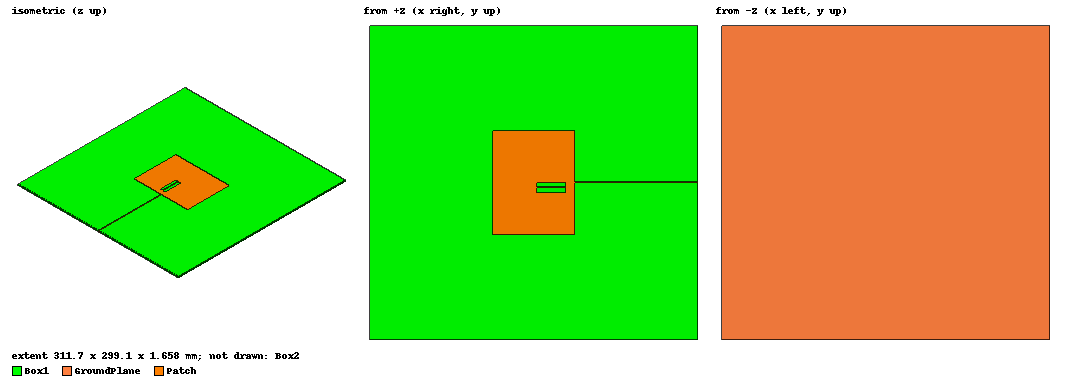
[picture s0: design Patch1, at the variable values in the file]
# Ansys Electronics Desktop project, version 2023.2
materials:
  vacuum: permittivity=1
  copper: permeability=0.999991 conductivity=58000000
  FR4_epoxy: permittivity=4.4 dielectric_loss_tangent=0.02
  air: permittivity=1.0006 permeability=1.0000004

design Patch1 (HFSS, HFSS Terminal Network, model units mm)
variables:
  Xpatch = 77.92mm
  Ypatch = 99.7mm
  htrace = 0.035mm
  hsub = 1.588mm
  widthCP = 1.4mm
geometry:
  GroundPlane [copper] = rectangle(corner=(0mm, 0mm, 0mm), x_size=Xpatch* 4, y_size=Ypatch *3)
  GroundPlane.thicken(0.035mm)
  Box1 [FR4_epoxy] = box(corner=(0mm, 0mm, htrace), size=(4*Xpatch, 3*Ypatch, hsub))
  Patch [copper] = rectangle(corner=(Xpatch*1.5, Ypatch, hsub+htrace), x_size=Xpatch, y_size=Ypatch)
  Patch.thicken(0.035mm)
  TransmissionLIne = rectangle(corner=(2.5*Xpatch, 1.5*Ypatch, hsub +htrace), x_size=1.5*Xpatch, y_size=widthCP)
  TransmissionLIne.thicken(0.035mm)
  Rectangle1 = rectangle(corner=(4*Xpatch, 1.5*Ypatch, 0mm), y_size=widthCP, z_size=hsub+htrace)
  Patch.unite(TransmissionLIne)
  Rectangle2 = rectangle(corner=(186.68971mm, 144.39841mm, hsub+htrace), x_size=-28.302mm, y_size=-3.8984146mm)
  Rectangle2.thicken(0.035mm)
  Rectangle3 = rectangle(corner=(186.68971mm, 145.79841mm, 1.658mm), x_size=-28.302mm, y_size=4.2015854mm)
  Rectangle3.thicken(0.035mm)
  Patch.subtract(Rectangle2, Rectangle3)
  Box2 [air] = box(corner=(-50mm, -40mm, -10mm), size=(400mm, 400mm, 40mm))
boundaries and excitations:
  Rad1: Radiation Objects=Box2
  1: Lumped Port Objects=Rectangle1 LumpedPortType=Modal Modes{Mode1{IntLine{(311.68, 150.25, 0) -> (311.68, 150.25, 1.623)} CharImp=Zpi}} Impedance=50ohm
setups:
  Setup1: HfssDriven Frequency=0.915GHz MaxDeltaS=0.02 MaximumPasses=6 MinimumPasses=1 MinimumConvergedPasses=1 PercentRefinement=30 BasisOrder=1 PortAccuracy=2 DrivenSolverType="Direct Solver"
    sweep Sweep: 0.4575GHz to 1.3725GHz, 401 points; Type=Fast SaveFields
  Setup2: HfssDriven Frequency=915MHz MaxDeltaS=0.015 MaximumPasses=20 MinimumPasses=1 MinimumConvergedPasses=1 PercentRefinement=30 BasisOrder=1 PortAccuracy=2 DrivenSolverType="Direct Solver"
    sweep Sweep: 600.5MHz to 1200.5MHz, 401 points; Type=Fast SaveFields
  Setup3: HfssDriven Frequency=0.915GHz MaxDeltaS=0.015 MaximumPasses=20 MinimumPasses=1 MinimumConvergedPasses=1 PercentRefinement=30 BasisOrder=1 PortAccuracy=2 DrivenSolverType="Direct Solver"
    sweep Sweep: 0.6GHz to 1.5GHz, 401 points; Type=Fast SaveFields
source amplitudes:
  1:1: 1V 0deg
